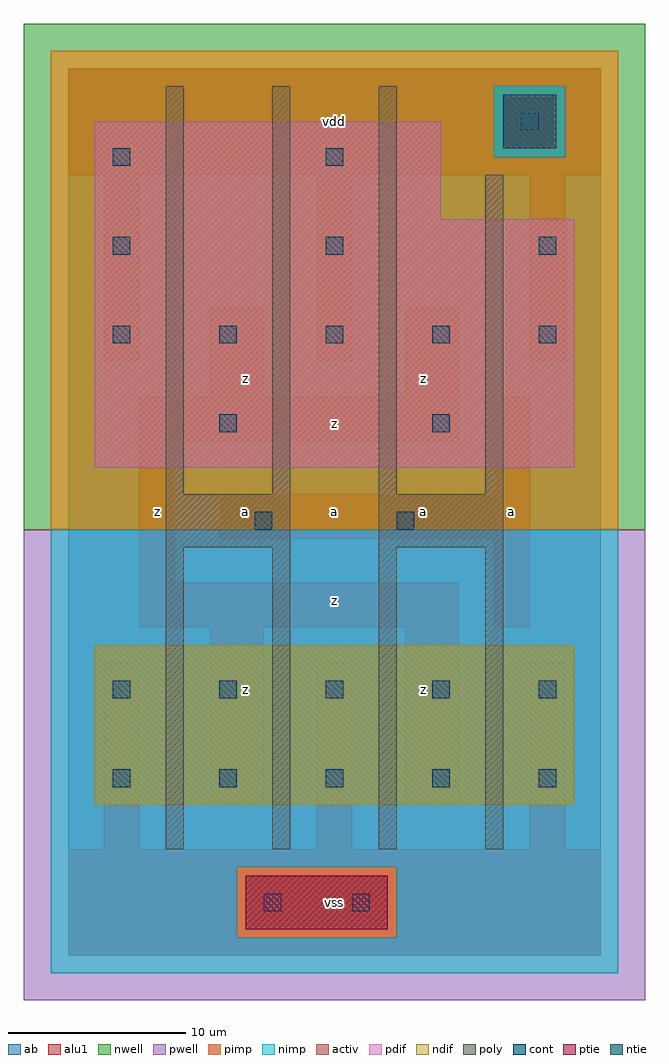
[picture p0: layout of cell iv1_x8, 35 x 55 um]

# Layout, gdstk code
import gdstk
lib = gdstk.Library(unit=1e-6, precision=1e-09)
def R(c, l, rs):  # rectangles x0, y0, x1, y1
    for r in rs: c.add(gdstk.rectangle(r[:2], r[2:], *l))
def A(c, l, x, y, w, h, nx, ny, dx, dy):  # array of equal rectangles
    R(c, l, [(x+i*dx, y+j*dy, x+i*dx+w, y+j*dy+h) for i in range(nx) for j in range(ny)])
ndif = (3, 0)
pdif = (4, 0)
ntie = (5, 0)
ptie = (6, 0)
cont = (25, 0)
pwell = (41, 0)
nwell = (42, 0)
activ = (43, 0)
pimp = (44, 0)
nimp = (45, 0)
poly = (46, 0)
alu1 = (49, 0)
ab = (63, 0)

iv1_x8 = lib.new_cell('iv1_x8')
R(iv1_x8, ndif, [(1.5,8.5,28.5,17.5)])
R(iv1_x8, pdif, [(1.5,27.5,28.5,41.5), (1.5,41.5,21,47)])
R(iv1_x8, ntie, [(24.5,45.5,27.5,48.5)])
R(iv1_x8, ptie, [(10,1.5,18,4.5)])
A(iv1_x8, cont, 2.5, 9.5, 1, 1, 5, 2, 6, 5)
A(iv1_x8, cont, 2.5, 34.5, 1, 1, 5, 1, 6, 0)
A(iv1_x8, cont, 2.5, 39.5, 1, 1, 3, 1, 12, 0)
R(iv1_x8, cont, [(11,2.5,12,3.5), (16,2.5,17,3.5), (10.5,24,11.5,25), (18.5,24,19.5,25), (8.5,29.5,9.5,30.5), (20.5,29.5,21.5,30.5), (2.5,44.5,3.5,45.5), (14.5,44.5,15.5,45.5), (25.5,46.5,26.5,47.5)])
R(iv1_x8, pwell, [(-2.5,-2.5,32.5,24)])
R(iv1_x8, nwell, [(-2.5,24,32.5,52.5)])
R(iv1_x8, activ, [(10,1.5,18,4.5), (1.5,8.5,28.5,17.5), (1.5,27.5,28.5,41.5), (1.5,41.5,21,47), (24.5,45.5,27.5,48.5)])
R(iv1_x8, pimp, [(9.5,1,18.5,5), (-1,24,31,45), (-1,45,24,49), (28,45,31,49), (-1,49,31,51)])
R(iv1_x8, nimp, [(-1,-1,31,1), (-1,1,9.5,5), (18.5,1,31,5), (-1,5,31,24), (24,45,28,49)])
A(iv1_x8, poly, 5.5, 6, 1, 17, 4, 1, 6, 0)
A(iv1_x8, poly, 5.5, 26, 1, 23, 3, 1, 6, 0)
R(iv1_x8, poly, [(5.5,23,12.5,26), (17.5,23,24.5,26), (23.5,26,24.5,44)])
R(iv1_x8, alu1, [(0,0,30,6), (0,0,30,6), (2,6,4,16.5), (2,6,4,16.5), (14,6,16,16.5), (14,6,16,16.5), (26,6,28,16.5), (26,6,28,16.5), (8,8.5,11,18.5), (8,8.5,11,18.5), (19,8.5,22,18.5), (19,8.5,22,18.5), (4,18.5,22,21), (4,18.5,22,21), (24,18.5,26,23.5), (24,18.5,26,23.5), (4,21,6,29), (4,21,6,29), (8.5,23.5,26,26), (8.5,23.5,26,26), (24,26,26,31.5), (24,26,26,31.5), (4,29,22,31.5), (4,29,22,31.5), (8,31.5,11,36.5), (8,31.5,11,36.5), (19,31.5,22,36.5), (19,31.5,22,36.5), (2,33.5,4,44), (2,33.5,4,44), (14,33.5,16,44), (14,33.5,16,44), (26,33.5,28,44), (26,33.5,28,44), (0,44,30,50), (0,44,30,50)])
R(iv1_x8, ab, [(0,0,30,50)])
iv1_x8.add(gdstk.Label('z', (5,25), layer=49, texttype=0))
iv1_x8.add(gdstk.Label('z', (10,15), layer=49, texttype=0))
iv1_x8.add(gdstk.Label('a', (10,25), layer=49, texttype=0))
iv1_x8.add(gdstk.Label('z', (10,32.5), layer=49, texttype=0))
iv1_x8.add(gdstk.Label('vss', (15,3), layer=49, texttype=0))
iv1_x8.add(gdstk.Label('z', (15,20), layer=49, texttype=0))
iv1_x8.add(gdstk.Label('z', (20,15), layer=49, texttype=0))
iv1_x8.add(gdstk.Label('a', (20,25), layer=49, texttype=0))
iv1_x8.add(gdstk.Label('a', (15,25), layer=49, texttype=0))
iv1_x8.add(gdstk.Label('z', (15,30), layer=49, texttype=0))
iv1_x8.add(gdstk.Label('z', (20,32.5), layer=49, texttype=0))
iv1_x8.add(gdstk.Label('vdd', (15,47), layer=49, texttype=0))
iv1_x8.add(gdstk.Label('a', (25,25), layer=49, texttype=0))

lib.write_gds('iv1_x8.gds')
